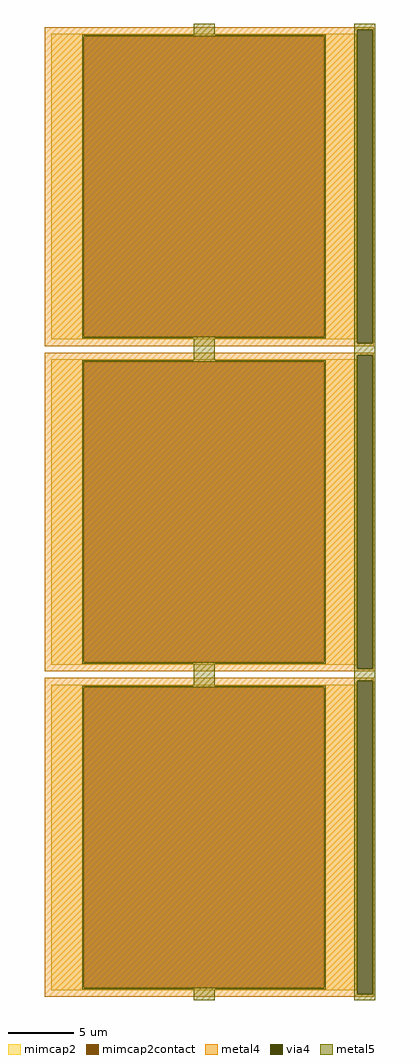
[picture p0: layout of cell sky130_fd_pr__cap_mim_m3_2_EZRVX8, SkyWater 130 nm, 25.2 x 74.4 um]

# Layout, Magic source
magic
tech sky130A
magscale 1 2
<< metal4 >>
rect -2509 7349 2509 7390
rect -2509 2571 2253 7349
rect 2489 2571 2509 7349
rect -2509 2530 2509 2571
rect -2509 2389 2509 2430
rect -2509 -2389 2253 2389
rect 2489 -2389 2509 2389
rect -2509 -2430 2509 -2389
rect -2509 -2571 2509 -2530
rect -2509 -7349 2253 -2571
rect 2489 -7349 2509 -2571
rect -2509 -7390 2509 -7349
<< via4 >>
rect 2253 2571 2489 7349
rect 2253 -2389 2489 2389
rect 2253 -7349 2489 -2571
<< mimcap2 >>
rect -2409 7250 2251 7290
rect -2409 2670 -1911 7250
rect 1753 2670 2251 7250
rect -2409 2630 2251 2670
rect -2409 2290 2251 2330
rect -2409 -2290 -1911 2290
rect 1753 -2290 2251 2290
rect -2409 -2330 2251 -2290
rect -2409 -2670 2251 -2630
rect -2409 -7250 -1911 -2670
rect 1753 -7250 2251 -2670
rect -2409 -7290 2251 -7250
<< mimcap2contact >>
rect -1911 2670 1753 7250
rect -1911 -2290 1753 2290
rect -1911 -7250 1753 -2670
<< metal5 >>
rect -239 7274 81 7440
rect 2211 7349 2531 7440
rect -1935 7250 1777 7274
rect -1935 2670 -1911 7250
rect 1753 2670 1777 7250
rect -1935 2646 1777 2670
rect -239 2314 81 2646
rect 2211 2571 2253 7349
rect 2489 2571 2531 7349
rect 2211 2389 2531 2571
rect -1935 2290 1777 2314
rect -1935 -2290 -1911 2290
rect 1753 -2290 1777 2290
rect -1935 -2314 1777 -2290
rect -239 -2646 81 -2314
rect 2211 -2389 2253 2389
rect 2489 -2389 2531 2389
rect 2211 -2571 2531 -2389
rect -1935 -2670 1777 -2646
rect -1935 -7250 -1911 -2670
rect 1753 -7250 1777 -2670
rect -1935 -7274 1777 -7250
rect -239 -7440 81 -7274
rect 2211 -7349 2253 -2571
rect 2489 -7349 2531 -2571
rect 2211 -7440 2531 -7349
<< properties >>
string FIXED_BBOX -2509 2530 2351 7390
string gencell sky130_fd_pr__cap_mim_m3_2
string library sky130
string parameters w 23.3 l 23.3 val 1.103k carea 2.00 cperi 0.19 nx 1 ny 3 dummy 0 square 0 lmin 2.00 wmin 2.00 lmax 30.0 wmax 30.0 dc 0 bconnect 1 tconnect 1 ccov 80
<< end >>
